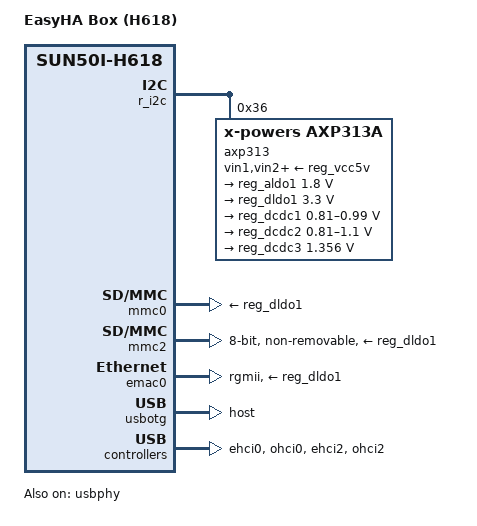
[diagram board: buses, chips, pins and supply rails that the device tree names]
// SPDX-License-Identifier: (GPL-2.0+ OR MIT)
// ============================================================
// EasyHA H618 公版盒子（PCDN 公版，DDR3L 4GB + Foresee eMMC 128G
// + RTL8211F 千兆 + AIC8801 USB WiFi）
//
// 结构与主线 sun50i-h618-orangepi-zero3.dts 完全同构：
//   基座 = sun50i-h616-orangepi-zero.dtsi（串口/mmc0/USB/公共调压器）
//   覆盖值全部来自参照系统 DTB（pcdn）反编译实测，见 pcdn-reference.dts
// ============================================================

/dts-v1/;

#include "sun50i-h616-orangepi-zero.dtsi"
#include "sun50i-h616-cpu-opp.dtsi"

/ {
	model = "EasyHA Box (H618)";
	compatible = "easyha,h618-box", "allwinner,sun50i-h618";
};

&cpu0 {
	cpu-supply = <&reg_dcdc2>;
};

/* ---- PMIC AXP313a @ r_i2c（与 zero3 同位置；无中断脚，轮询模式） ---- */
&r_i2c {
	status = "okay";

	axp313: pmic@36 {
		compatible = "x-powers,axp313a";
		reg = <0x36>;
		#interrupt-cells = <1>;
		interrupt-controller;

		vin1-supply = <&reg_vcc5v>;
		vin2-supply = <&reg_vcc5v>;
		vin3-supply = <&reg_vcc5v>;

		regulators {
			reg_aldo1: aldo1 {
				regulator-always-on;
				regulator-min-microvolt = <1800000>;
				regulator-max-microvolt = <1800000>;
				regulator-name = "vcc1v8";
			};

			reg_dldo1: dldo1 {
				regulator-always-on;
				regulator-min-microvolt = <3300000>;
				regulator-max-microvolt = <3300000>;
				regulator-name = "vcc3v3";
			};

			reg_dcdc1: dcdc1 {
				regulator-always-on;
				regulator-min-microvolt = <810000>;
				regulator-max-microvolt = <990000>;
				regulator-name = "vdd-gpu-sys";
			};

			reg_dcdc2: dcdc2 {
				regulator-always-on;
				regulator-min-microvolt = <810000>;
				regulator-max-microvolt = <1100000>;
				regulator-name = "vdd-cpu";
			};

			/* 公版 DDR3L：1.356V（zero3 LPDDR4 是 1.1V，必须覆盖） */
			reg_dcdc3: dcdc3 {
				regulator-always-on;
				regulator-min-microvolt = <1356000>;
				regulator-max-microvolt = <1356000>;
				regulator-name = "vdd-dram";
			};
		};
	};
};

&pio {
	vcc-pc-supply = <&reg_dldo1>;
	vcc-pf-supply = <&reg_dldo1>;
	vcc-pg-supply = <&reg_aldo1>;
	vcc-ph-supply = <&reg_dldo1>;
	vcc-pi-supply = <&reg_dldo1>;
};

/* ---- TF 卡（zero.dtsi 已配 broken-cd；补充供电轨） ---- */
&mmc0 {
	vmmc-supply = <&reg_dldo1>;
};

/* ---- eMMC：Foresee NG2M212 128GB，DDR52 @150MHz（参照实测，非 HS200） ---- */
&mmc2 {
	vmmc-supply = <&reg_dldo1>;
	vqmmc-supply = <&reg_dldo1>;
	bus-width = <8>;
	non-removable;
	cap-mmc-highspeed;
	mmc-ddr-3_3v;
	max-frequency = <150000000>;
	status = "okay";
};

/* ---- 千兆网口：RTL8211F（时延/模式/供电取自参照实测） ---- */
&emac0 {
	allwinner,rx-delay-ps = <3100>;
	allwinner,tx-delay-ps = <700>;
	phy-mode = "rgmii";
	phy-supply = <&reg_dldo1>;
};

&ext_rgmii_phy {
	/* RTL8211F 不需要 zero.dtsi 里 YT8531 的时钟输出属性 */
	/delete-property/ motorcomm,clk-out-frequency-hz;
};

/* ---- USB：usbotg 转 host（AIC8801 等 USB 设备）+ 三对 EHCI/OHCI ---- */
&usbotg {
	dr_mode = "host";
};

&usbphy {
	status = "okay";
};

&ehci0 {
	status = "okay";
};

&ohci0 {
	status = "okay";
};

&ehci2 {
	status = "okay";
};

&ohci2 {
	status = "okay";
};

/* 公版 USB 供电无独立使能脚：去掉 zero.dtsi 的 PC16 GPIO 控制，改为常供 */
&reg_usb1_vbus {
	/delete-property/ gpio;
	/delete-property/ enable-active-high;
};
